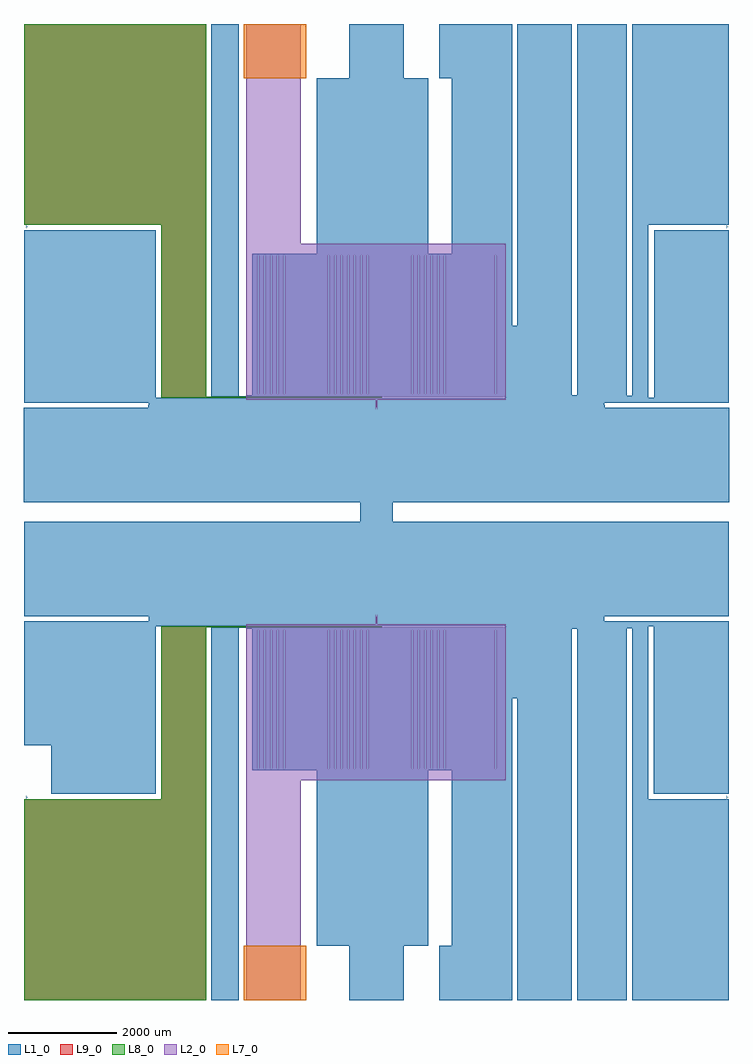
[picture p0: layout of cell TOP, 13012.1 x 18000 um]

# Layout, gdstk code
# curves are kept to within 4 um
import gdstk
lib = gdstk.Library(unit=1e-6, precision=1e-09)
def R(c, l, rs):  # rectangles x0, y0, x1, y1
    for r in rs: c.add(gdstk.rectangle(r[:2], r[2:], *l))
def P(c, l, *ps):  # polygons
    for p in ps: c.add(gdstk.Polygon(p, *l))
L1_0 = (1, 0)
L2_0 = (2, 0)
L7_0 = (7, 0)
L8_0 = (8, 0)
L9_0 = (9, 0)

top = lib.new_cell('TOP')
P(top, L1_0, [(-2296,3435.5),(-2296,3495.5),(2300,3495.5),(2300,4768),(1385.854,4768),(1385.854,8000),(1153.966,8000),(1153.966,9000),(2500,9000),(2500,3435.5)],
  [(-2296,3497),(-2296,4764),(-1100,4764),(-1100,8000),(-500,8000),(-500,9000),(500,9000),(500,8000),(950,8000),(950,4764),(2296,4764),(2296,3497)],
  [(-6000,-5200.045),(-6000,-4299.297),(-6500,-4299.297),(-6500,-2014),(-4200,-2014),(-4200,-1974),(-3,-1974),(-3,1974),(-4200,1974),(-4200,2014),(-6500,2014),(-6500,5200.185),(-4070,5200.185),(-4070,2109.921),(5120,2109.921),(5120,5200.185),(6500,5200.185),(6500,2014),(4200,2014),(4200,1974),(3,1974),(3,-1974),(4200,-1974),(4200,-2014),(6500,-2014),(6500,-5197.841),(5113.881,-5197.841),(5113.881,-2109.921),(-4069.939,-2109.921),(-4069.939,-5200.045)],
  [(5.5,-1971.5),(5.5,1971.5),(9,1971.5),(9,-1968),(17.5,-1968),(17.5,1965.5),(21,1965.5),(21,-1968),(29.5,-1968),(29.5,1965.5),(33,1965.5),(33,-1968),(41.5,-1968),(41.5,1965.5),(45,1965.5),(45,-1968),(53.5,-1968),(53.5,1965.5),(57,1965.5),(57,-1968),(65.5,-1968),(65.5,1965.5),(69,1965.5),(69,-1968),(77.5,-1968),(77.5,1965.5),(81,1965.5),(81,-1968),(89.5,-1968),(89.5,1965.5),(93,1965.5),(93,-1968),(101.5,-1968),(101.5,1965.5),(105,1965.5),(105,-1968),(113.5,-1968),(113.5,1965.5),(117,1965.5),(117,-1968),(125.5,-1968),(125.5,1965.5),(129,1965.5),(129,-1968),(137.5,-1968),(137.5,1965.5),(141,1965.5),(141,-1968),(149.5,-1968),(149.5,1965.5),(153,1965.5),(153,-1968),(161.5,-1968),(161.5,1965.5),(165,1965.5),(165,-1968),(173.5,-1968),(173.5,1965.5),(177,1965.5),(177,-1968),(185.5,-1968),(185.5,1965.5),(189,1965.5),(189,-1968),(197.5,-1968),(197.5,1965.5),(201,1965.5),(201,-1968),(209.5,-1968),(209.5,1965.5),(213,1965.5),(213,-1968),(221.5,-1968),(221.5,1965.5),(225,1965.5),(225,-1968),(233.5,-1968),(233.5,1965.5),(237,1965.5),(237,-1968),(245.5,-1968),(245.5,1965.5),(249,1965.5),(249,-1968),(257.5,-1968),(257.5,1965.5),(261,1965.5),(261,-1968),(269.5,-1968),(269.5,1965.5),(273,1965.5),(273,-1968),(281.5,-1968),(281.5,1965.5),(285,1965.5),(285,-1968),(293.5,-1968),(293.5,1965.5),(297,1965.5),(297,-179.6),(6500.05,-179.6),(6500.05,-1919.6),(4200.05,-1919.6),(4200.05,-1971.5)],
  [(11.5,-1965.5),(11.5,1971.5),(4206.05,1971.5),(4206.05,1919.6),(6506.05,1919.6),(6506.05,179.6),(299.5,179.6),(299.5,1968),(291,1968),(291,-1965.5),(287.5,-1965.5),(287.5,1968),(279,1968),(279,-1965.5),(275.5,-1965.5),(275.5,1968),(267,1968),(267,-1965.5),(263.5,-1965.5),(263.5,1968),(255,1968),(255,-1965.5),(251.5,-1965.5),(251.5,1968),(243,1968),(243,-1965.5),(239.5,-1965.5),(239.5,1968),(231,1968),(231,-1965.5),(227.5,-1965.5),(227.5,1968),(219,1968),(219,-1965.5),(215.5,-1965.5),(215.5,1968),(207,1968),(207,-1965.5),(203.5,-1965.5),(203.5,1968),(195,1968),(195,-1965.5),(191.5,-1965.5),(191.5,1968),(183,1968),(183,-1965.5),(179.5,-1965.5),(179.5,1968),(171,1968),(171,-1965.5),(167.5,-1965.5),(167.5,1968),(159,1968),(159,-1965.5),(155.5,-1965.5),(155.5,1968),(147,1968),(147,-1965.5),(143.5,-1965.5),(143.5,1968),(135,1968),(135,-1965.5),(131.5,-1965.5),(131.5,1968),(123,1968),(123,-1965.5),(119.5,-1965.5),(119.5,1968),(111,1968),(111,-1965.5),(107.5,-1965.5),(107.5,1968),(99,1968),(99,-1965.5),(95.5,-1965.5),(95.5,1968),(87,1968),(87,-1965.5),(83.5,-1965.5),(83.5,1968),(75,1968),(75,-1965.5),(71.5,-1965.5),(71.5,1968),(63,1968),(63,-1965.5),(59.5,-1965.5),(59.5,1968),(51,1968),(51,-1965.5),(47.5,-1965.5),(47.5,1968),(39,1968),(39,-1965.5),(35.5,-1965.5),(35.5,1968),(27,1968),(27,-1965.5),(23.5,-1965.5),(23.5,1968),(15,1968),(15,-1965.5)],
  [(-4200.05,-1971.5),(-4200.05,-1919.6),(-6500.05,-1919.6),(-6500.05,-179.6),(-297,-179.6),(-297,1965.5),(-293.5,1965.5),(-293.5,-1968),(-285,-1968),(-285,1965.5),(-281.5,1965.5),(-281.5,-1968),(-273,-1968),(-273,1965.5),(-269.5,1965.5),(-269.5,-1968),(-261,-1968),(-261,1965.5),(-257.5,1965.5),(-257.5,-1968),(-249,-1968),(-249,1965.5),(-245.5,1965.5),(-245.5,-1968),(-237,-1968),(-237,1965.5),(-233.5,1965.5),(-233.5,-1968),(-225,-1968),(-225,1965.5),(-221.5,1965.5),(-221.5,-1968),(-213,-1968),(-213,1965.5),(-209.5,1965.5),(-209.5,-1968),(-201,-1968),(-201,1965.5),(-197.5,1965.5),(-197.5,-1968),(-189,-1968),(-189,1965.5),(-185.5,1965.5),(-185.5,-1968),(-177,-1968),(-177,1965.5),(-173.5,1965.5),(-173.5,-1968),(-165,-1968),(-165,1965.5),(-161.5,1965.5),(-161.5,-1968),(-153,-1968),(-153,1965.5),(-149.5,1965.5),(-149.5,-1968),(-141,-1968),(-141,1965.5),(-137.5,1965.5),(-137.5,-1968),(-129,-1968),(-129,1965.5),(-125.5,1965.5),(-125.5,-1968),(-117,-1968),(-117,1965.5),(-113.5,1965.5),(-113.5,-1968),(-105,-1968),(-105,1965.5),(-101.5,1965.5),(-101.5,-1968),(-93,-1968),(-93,1965.5),(-89.5,1965.5),(-89.5,-1968),(-81,-1968),(-81,1965.5),(-77.5,1965.5),(-77.5,-1968),(-69,-1968),(-69,1965.5),(-65.5,1965.5),(-65.5,-1968),(-57,-1968),(-57,1965.5),(-53.5,1965.5),(-53.5,-1968),(-45,-1968),(-45,1965.5),(-41.5,1965.5),(-41.5,-1968),(-33,-1968),(-33,1965.5),(-29.5,1965.5),(-29.5,-1968),(-21,-1968),(-21,1965.5),(-17.5,1965.5),(-17.5,-1968),(-9,-1968),(-9,1971.5),(-5.5,1971.5),(-5.5,-1971.5)],
  [(-291,-1965.5),(-291,1968),(-299.5,1968),(-299.5,179.6),(-6506.05,179.6),(-6506.05,1919.6),(-4206.05,1919.6),(-4206.05,1971.5),(-11.5,1971.5),(-11.5,-1965.5),(-15,-1965.5),(-15,1968),(-23.5,1968),(-23.5,-1965.5),(-27,-1965.5),(-27,1968),(-35.5,1968),(-35.5,-1965.5),(-39,-1965.5),(-39,1968),(-47.5,1968),(-47.5,-1965.5),(-51,-1965.5),(-51,1968),(-59.5,1968),(-59.5,-1965.5),(-63,-1965.5),(-63,1968),(-71.5,1968),(-71.5,-1965.5),(-75,-1965.5),(-75,1968),(-83.5,1968),(-83.5,-1965.5),(-87,-1965.5),(-87,1968),(-95.5,1968),(-95.5,-1965.5),(-99,-1965.5),(-99,1968),(-107.5,1968),(-107.5,-1965.5),(-111,-1965.5),(-111,1968),(-119.5,1968),(-119.5,-1965.5),(-123,-1965.5),(-123,1968),(-131.5,1968),(-131.5,-1965.5),(-135,-1965.5),(-135,1968),(-143.5,1968),(-143.5,-1965.5),(-147,-1965.5),(-147,1968),(-155.5,1968),(-155.5,-1965.5),(-159,-1965.5),(-159,1968),(-167.5,1968),(-167.5,-1965.5),(-171,-1965.5),(-171,1968),(-179.5,1968),(-179.5,-1965.5),(-183,-1965.5),(-183,1968),(-191.5,1968),(-191.5,-1965.5),(-195,-1965.5),(-195,1968),(-203.5,1968),(-203.5,-1965.5),(-207,-1965.5),(-207,1968),(-215.5,1968),(-215.5,-1965.5),(-219,-1965.5),(-219,1968),(-227.5,1968),(-227.5,-1965.5),(-231,-1965.5),(-231,1968),(-239.5,1968),(-239.5,-1965.5),(-243,-1965.5),(-243,1968),(-251.5,1968),(-251.5,-1965.5),(-255,-1965.5),(-255,1968),(-263.5,1968),(-263.5,-1965.5),(-267,-1965.5),(-267,1968),(-275.5,1968),(-275.5,-1965.5),(-279,-1965.5),(-279,1968),(-287.5,1968),(-287.5,-1965.5)],
  [(-3043.339,2122.521),(-3043.339,9000),(-2543.314,9000),(-2543.314,2132.521),(2378.898,2132.521),(2378.898,2122.521)],
  [(-2394.635,2145.121),(-2394.635,2155.121),(3700.753,2155.121),(3700.753,9000),(4617.163,9000),(4617.163,2145.121)],
  [(-2296,2156.421),(-2296,3434),(2600,3434),(2600,9000),(3601.504,9000),(3601.504,2156.421)],
  [(1153.966,-9000),(1153.966,-8000),(1385.854,-8000),(1385.854,-4768),(2300,-4768),(2300,-3495.5),(-2296,-3495.5),(-2296,-3435.5),(2500,-3435.5),(2500,-9000)],
  [(-500,-9000),(-500,-8000),(-1100,-8000),(-1100,-4764),(-2296,-4764),(-2296,-3497),(2296,-3497),(2296,-4764),(950,-4764),(950,-8000),(500,-8000),(500,-9000)],
  [(-3043.339,-9000),(-3043.339,-2122.521),(2378.898,-2122.521),(2378.898,-2132.521),(-2543.314,-2132.521),(-2543.314,-9000)],
  [(3700.753,-9000),(3700.753,-2155.121),(-2394.635,-2155.121),(-2394.635,-2145.121),(4617.163,-2145.121),(4617.163,-9000)],
  [(2600,-9000),(2600,-3434),(-2296,-3434),(-2296,-2156.421),(3601.504,-2156.421),(3601.504,-9000)],
  [(2387.322,2118.821),(2387.322,2133.821),(-2394.635,2133.821),(-2394.635,2143.821),(4717.163,2143.821),(4717.163,9000),(6500,9000),(6500,5297.841),(5013.881,5297.841),(5013.881,2118.821)],
  [(4717.163,-9000),(4717.163,-2143.821),(-2394.635,-2143.821),(-2394.635,-2133.821),(2387.322,-2133.821),(2387.322,-2118.821),(5013.881,-2118.821),(5013.881,-5297.841),(6500,-5297.841),(6500,-9000)],
  [(-6461.5,5230),(-6461.5,5258.5),(-6490,5258.5),(-6490,5261.5),(-6461.5,5261.5),(-6461.5,5290),(-6458.5,5290),(-6458.5,5261.5),(-6430,5261.5),(-6430,5258.5),(-6458.5,5258.5),(-6458.5,5230)],
  [(6458.5,5230),(6458.5,5258.5),(6430,5258.5),(6430,5261.5),(6458.5,5261.5),(6458.5,5290),(6461.5,5290),(6461.5,5261.5),(6490,5261.5),(6490,5258.5),(6461.5,5258.5),(6461.5,5230)],
  [(-6461.5,-5290),(-6461.5,-5261.5),(-6490,-5261.5),(-6490,-5258.5),(-6461.5,-5258.5),(-6461.5,-5230),(-6458.5,-5230),(-6458.5,-5258.5),(-6430,-5258.5),(-6430,-5261.5),(-6458.5,-5261.5),(-6458.5,-5290)],
  [(6458.5,-5290),(6458.5,-5261.5),(6430,-5261.5),(6430,-5258.5),(6458.5,-5258.5),(6458.5,-5230),(6461.5,-5230),(6461.5,-5258.5),(6490,-5258.5),(6490,-5261.5),(6461.5,-5261.5),(6461.5,-5290)])
P(top, L2_0, [(-15.5,1894),(-18,2069),(-2400,2069),(-2400,9000),(-1400,9000),(-1400,4944),(2384,4944),(2384,2069),(18,2069),(15.5,1894),(13.5,1894),(6,1964),(6,2173.221),(2284,2173.221),(2284,4744),(2274,4744),(2274,2183.221),(2264,2183.221),(2264,4744),(2254,4744),(2254,2183.221),(2244,2183.221),(2244,4744),(2234,4744),(2234,2183.221),(2224,2183.221),(2224,4744),(2214,4744),(2214,2183.221),(2204,2183.221),(2204,4744),(2194,4744),(2194,2183.221),(2184,2183.221),(2184,4744),(2174,4744),(2174,2183.221),(2164,2183.221),(2164,4744),(2154,4744),(2154,2183.221),(2144,2183.221),(2144,4744),(2134,4744),(2134,2183.221),(2124,2183.221),(2124,4744),(2114,4744),(2114,2183.221),(2104,2183.221),(2104,4744),(2094,4744),(2094,2183.221),(2084,2183.221),(2084,4744),(2074,4744),(2074,2183.221),(2064,2183.221),(2064,4744),(2054,4744),(2054,2183.221),(2044,2183.221),(2044,4744),(2034,4744),(2034,2183.221),(2024,2183.221),(2024,4744),(2014,4744),(2014,2183.221),(2004,2183.221),(2004,4744),(1994,4744),(1994,2183.221),(1984,2183.221),(1984,4744),(1974,4744),(1974,2183.221),(1964,2183.221),(1964,4744),(1954,4744),(1954,2183.221),(1944,2183.221),(1944,4744),(1934,4744),(1934,2183.221),(1924,2183.221),(1924,4744),(1914,4744),(1914,2183.221),(1904,2183.221),(1904,4744),(1894,4744),(1894,2183.221),(1884,2183.221),(1884,4744),(1874,4744),(1874,2183.221),(1864,2183.221),(1864,4744),(1854,4744),(1854,2183.221),(1844,2183.221),(1844,4744),(1834,4744),(1834,2183.221),(1824,2183.221),(1824,4744),(1814,4744),(1814,2183.221),(1804,2183.221),(1804,4744),(1794,4744),(1794,2183.221),(1784,2183.221),(1784,4744),(1774,4744),(1774,2183.221),(1764,2183.221),(1764,4744),(1754,4744),(1754,2183.221),(1744,2183.221),(1744,4744),(1734,4744),(1734,2183.221),(1724,2183.221),(1724,4744),(1714,4744),(1714,2183.221),(1704,2183.221),(1704,4744),(1694,4744),(1694,2183.221),(1684,2183.221),(1684,4744),(1674,4744),(1674,2183.221),(1664,2183.221),(1664,4744),(1654,4744),(1654,2183.221),(1644,2183.221),(1644,4744),(1634,4744),(1634,2183.221),(1624,2183.221),(1624,4744),(1614,4744),(1614,2183.221),(1604,2183.221),(1604,4744),(1594,4744),(1594,2183.221),(1584,2183.221),(1584,4744),(1574,4744),(1574,2183.221),(1564,2183.221),(1564,4744),(1554,4744),(1554,2183.221),(1544,2183.221),(1544,4744),(1534,4744),(1534,2183.221),(1524,2183.221),(1524,4744),(1514,4744),(1514,2183.221),(1504,2183.221),(1504,4744),(1494,4744),(1494,2183.221),(1484,2183.221),(1484,4744),(1474,4744),(1474,2183.221),(1464,2183.221),(1464,4744),(1454,4744),(1454,2183.221),(1444,2183.221),(1444,4744),(1434,4744),(1434,2183.221),(1424,2183.221),(1424,4744),(1414,4744),(1414,2183.221),(1404,2183.221),(1404,4744),(1394,4744),(1394,2183.221),(1384,2183.221),(1384,4744),(1374,4744),(1374,2183.221),(1364,2183.221),(1364,4744),(1354,4744),(1354,2183.221),(1344,2183.221),(1344,4744),(1334,4744),(1334,2183.221),(1324,2183.221),(1324,4744),(1314,4744),(1314,2183.221),(1304,2183.221),(1304,4744),(1294,4744),(1294,2183.221),(1284,2183.221),(1284,4744),(1274,4744),(1274,2183.221),(1264,2183.221),(1264,4744),(1254,4744),(1254,2183.221),(1244,2183.221),(1244,4744),(1234,4744),(1234,2183.221),(1224,2183.221),(1224,4744),(1214,4744),(1214,2183.221),(1204,2183.221),(1204,4744),(1194,4744),(1194,2183.221),(1184,2183.221),(1184,4744),(1174,4744),(1174,2183.221),(1164,2183.221),(1164,4744),(1154,4744),(1154,2183.221),(1144,2183.221),(1144,4744),(1134,4744),(1134,2183.221),(1124,2183.221),(1124,4744),(1114,4744),(1114,2183.221),(1104,2183.221),(1104,4744),(1094,4744),(1094,2183.221),(1084,2183.221),(1084,4744),(1074,4744),(1074,2183.221),(1064,2183.221),(1064,4744),(1054,4744),(1054,2183.221),(1044,2183.221),(1044,4744),(1034,4744),(1034,2183.221),(1024,2183.221),(1024,4744),(1014,4744),(1014,2183.221),(1004,2183.221),(1004,4744),(994,4744),(994,2183.221),(984,2183.221),(984,4744),(974,4744),(974,2183.221),(964,2183.221),(964,4744),(954,4744),(954,2183.221),(944,2183.221),(944,4744),(934,4744),(934,2183.221),(924,2183.221),(924,4744),(914,4744),(914,2183.221),(904,2183.221),(904,4744),(894,4744),(894,2183.221),(884,2183.221),(884,4744),(874,4744),(874,2183.221),(864,2183.221),(864,4744),(854,4744),(854,2183.221),(844,2183.221),(844,4744),(834,4744),(834,2183.221),(824,2183.221),(824,4744),(814,4744),(814,2183.221),(804,2183.221),(804,4744),(794,4744),(794,2183.221),(784,2183.221),(784,4744),(774,4744),(774,2183.221),(764,2183.221),(764,4744),(754,4744),(754,2183.221),(744,2183.221),(744,4744),(734,4744),(734,2183.221),(724,2183.221),(724,4744),(714,4744),(714,2183.221),(704,2183.221),(704,4744),(694,4744),(694,2183.221),(684,2183.221),(684,4744),(674,4744),(674,2183.221),(664,2183.221),(664,4744),(654,4744),(654,2183.221),(644,2183.221),(644,4744),(634,4744),(634,2183.221),(624,2183.221),(624,4744),(614,4744),(614,2183.221),(604,2183.221),(604,4744),(594,4744),(594,2183.221),(584,2183.221),(584,4744),(574,4744),(574,2183.221),(564,2183.221),(564,4744),(554,4744),(554,2183.221),(544,2183.221),(544,4744),(534,4744),(534,2183.221),(524,2183.221),(524,4744),(514,4744),(514,2183.221),(504,2183.221),(504,4744),(494,4744),(494,2183.221),(484,2183.221),(484,4744),(474,4744),(474,2183.221),(464,2183.221),(464,4744),(454,4744),(454,2183.221),(444,2183.221),(444,4744),(434,4744),(434,2183.221),(424,2183.221),(424,4744),(414,4744),(414,2183.221),(404,2183.221),(404,4744),(394,4744),(394,2183.221),(384,2183.221),(384,4744),(374,4744),(374,2183.221),(364,2183.221),(364,4744),(354,4744),(354,2183.221),(344,2183.221),(344,4744),(334,4744),(334,2183.221),(324,2183.221),(324,4744),(314,4744),(314,2183.221),(304,2183.221),(304,4744),(294,4744),(294,2183.221),(284,2183.221),(284,4744),(274,4744),(274,2183.221),(264,2183.221),(264,4744),(254,4744),(254,2183.221),(244,2183.221),(244,4744),(234,4744),(234,2183.221),(224,2183.221),(224,4744),(214,4744),(214,2183.221),(204,2183.221),(204,4744),(194,4744),(194,2183.221),(184,2183.221),(184,4744),(174,4744),(174,2183.221),(164,2183.221),(164,4744),(154,4744),(154,2183.221),(144,2183.221),(144,4744),(134,4744),(134,2183.221),(124,2183.221),(124,4744),(114,4744),(114,2183.221),(104,2183.221),(104,4744),(94,4744),(94,2183.221),(84,2183.221),(84,4744),(74,4744),(74,2183.221),(64,2183.221),(64,4744),(54,4744),(54,2183.221),(44,2183.221),(44,4744),(34,4744),(34,2183.221),(24,2183.221),(24,4744),(14,4744),(14,2183.221),(4,2183.221),(4,4744),(-6,4744),(-6,2183.221),(-16,2183.221),(-16,4744),(-26,4744),(-26,2183.221),(-36,2183.221),(-36,4744),(-46,4744),(-46,2183.221),(-56,2183.221),(-56,4744),(-66,4744),(-66,2183.221),(-76,2183.221),(-76,4744),(-86,4744),(-86,2183.221),(-96,2183.221),(-96,4744),(-106,4744),(-106,2183.221),(-116,2183.221),(-116,4744),(-126,4744),(-126,2183.221),(-136,2183.221),(-136,4744),(-146,4744),(-146,2183.221),(-156,2183.221),(-156,4744),(-166,4744),(-166,2183.221),(-176,2183.221),(-176,4744),(-186,4744),(-186,2183.221),(-196,2183.221),(-196,4744),(-206,4744),(-206,2183.221),(-216,2183.221),(-216,4744),(-226,4744),(-226,2183.221),(-236,2183.221),(-236,4744),(-246,4744),(-246,2183.221),(-256,2183.221),(-256,4744),(-266,4744),(-266,2183.221),(-276,2183.221),(-276,4744),(-286,4744),(-286,2183.221),(-296,2183.221),(-296,4744),(-306,4744),(-306,2183.221),(-316,2183.221),(-316,4744),(-326,4744),(-326,2183.221),(-336,2183.221),(-336,4744),(-346,4744),(-346,2183.221),(-356,2183.221),(-356,4744),(-366,4744),(-366,2183.221),(-376,2183.221),(-376,4744),(-386,4744),(-386,2183.221),(-396,2183.221),(-396,4744),(-406,4744),(-406,2183.221),(-416,2183.221),(-416,4744),(-426,4744),(-426,2183.221),(-436,2183.221),(-436,4744),(-446,4744),(-446,2183.221),(-456,2183.221),(-456,4744),(-466,4744),(-466,2183.221),(-476,2183.221),(-476,4744),(-486,4744),(-486,2183.221),(-496,2183.221),(-496,4744),(-506,4744),(-506,2183.221),(-516,2183.221),(-516,4744),(-526,4744),(-526,2183.221),(-536,2183.221),(-536,4744),(-546,4744),(-546,2183.221),(-556,2183.221),(-556,4744),(-566,4744),(-566,2183.221),(-576,2183.221),(-576,4744),(-586,4744),(-586,2183.221),(-596,2183.221),(-596,4744),(-606,4744),(-606,2183.221),(-616,2183.221),(-616,4744),(-626,4744),(-626,2183.221),(-636,2183.221),(-636,4744),(-646,4744),(-646,2183.221),(-656,2183.221),(-656,4744),(-666,4744),(-666,2183.221),(-676,2183.221),(-676,4744),(-686,4744),(-686,2183.221),(-696,2183.221),(-696,4744),(-706,4744),(-706,2183.221),(-716,2183.221),(-716,4744),(-726,4744),(-726,2183.221),(-736,2183.221),(-736,4744),(-746,4744),(-746,2183.221),(-756,2183.221),(-756,4744),(-766,4744),(-766,2183.221),(-776,2183.221),(-776,4744),(-786,4744),(-786,2183.221),(-796,2183.221),(-796,4744),(-806,4744),(-806,2183.221),(-816,2183.221),(-816,4744),(-826,4744),(-826,2183.221),(-836,2183.221),(-836,4744),(-846,4744),(-846,2183.221),(-856,2183.221),(-856,4744),(-866,4744),(-866,2183.221),(-876,2183.221),(-876,4744),(-886,4744),(-886,2183.221),(-896,2183.221),(-896,4744),(-906,4744),(-906,2183.221),(-916,2183.221),(-916,4744),(-926,4744),(-926,2183.221),(-936,2183.221),(-936,4744),(-946,4744),(-946,2183.221),(-956,2183.221),(-956,4744),(-966,4744),(-966,2183.221),(-976,2183.221),(-976,4744),(-986,4744),(-986,2183.221),(-996,2183.221),(-996,4744),(-1006,4744),(-1006,2183.221),(-1016,2183.221),(-1016,4744),(-1026,4744),(-1026,2183.221),(-1036,2183.221),(-1036,4744),(-1046,4744),(-1046,2183.221),(-1056,2183.221),(-1056,4744),(-1066,4744),(-1066,2183.221),(-1076,2183.221),(-1076,4744),(-1086,4744),(-1086,2183.221),(-1096,2183.221),(-1096,4744),(-1106,4744),(-1106,2183.221),(-1116,2183.221),(-1116,4744),(-1126,4744),(-1126,2183.221),(-1136,2183.221),(-1136,4744),(-1146,4744),(-1146,2183.221),(-1156,2183.221),(-1156,4744),(-1166,4744),(-1166,2183.221),(-1176,2183.221),(-1176,4744),(-1186,4744),(-1186,2183.221),(-1196,2183.221),(-1196,4744),(-1206,4744),(-1206,2183.221),(-1216,2183.221),(-1216,4744),(-1226,4744),(-1226,2183.221),(-1236,2183.221),(-1236,4744),(-1246,4744),(-1246,2183.221),(-1256,2183.221),(-1256,4744),(-1266,4744),(-1266,2183.221),(-1276,2183.221),(-1276,4744),(-1286,4744),(-1286,2183.221),(-1296,2183.221),(-1296,4744),(-1306,4744),(-1306,2183.221),(-1316,2183.221),(-1316,4744),(-1326,4744),(-1326,2183.221),(-1336,2183.221),(-1336,4744),(-1346,4744),(-1346,2183.221),(-1356,2183.221),(-1356,4744),(-1366,4744),(-1366,2183.221),(-1376,2183.221),(-1376,4744),(-1386,4744),(-1386,2183.221),(-1396,2183.221),(-1396,4744),(-1406,4744),(-1406,2183.221),(-1416,2183.221),(-1416,4744),(-1426,4744),(-1426,2183.221),(-1436,2183.221),(-1436,4744),(-1446,4744),(-1446,2183.221),(-1456,2183.221),(-1456,4744),(-1466,4744),(-1466,2183.221),(-1476,2183.221),(-1476,4744),(-1486,4744),(-1486,2183.221),(-1496,2183.221),(-1496,4744),(-1506,4744),(-1506,2183.221),(-1516,2183.221),(-1516,4744),(-1526,4744),(-1526,2183.221),(-1536,2183.221),(-1536,4744),(-1546,4744),(-1546,2183.221),(-1556,2183.221),(-1556,4744),(-1566,4744),(-1566,2183.221),(-1576,2183.221),(-1576,4744),(-1586,4744),(-1586,2183.221),(-1596,2183.221),(-1596,4744),(-1606,4744),(-1606,2183.221),(-1616,2183.221),(-1616,4744),(-1626,4744),(-1626,2183.221),(-1636,2183.221),(-1636,4744),(-1646,4744),(-1646,2183.221),(-1656,2183.221),(-1656,4744),(-1666,4744),(-1666,2183.221),(-1676,2183.221),(-1676,4744),(-1686,4744),(-1686,2183.221),(-1696,2183.221),(-1696,4744),(-1706,4744),(-1706,2183.221),(-1716,2183.221),(-1716,4744),(-1726,4744),(-1726,2183.221),(-1736,2183.221),(-1736,4744),(-1746,4744),(-1746,2183.221),(-1756,2183.221),(-1756,4744),(-1766,4744),(-1766,2183.221),(-1776,2183.221),(-1776,4744),(-1786,4744),(-1786,2183.221),(-1796,2183.221),(-1796,4744),(-1806,4744),(-1806,2183.221),(-1816,2183.221),(-1816,4744),(-1826,4744),(-1826,2183.221),(-1836,2183.221),(-1836,4744),(-1846,4744),(-1846,2183.221),(-1856,2183.221),(-1856,4744),(-1866,4744),(-1866,2183.221),(-1876,2183.221),(-1876,4744),(-1886,4744),(-1886,2183.221),(-1896,2183.221),(-1896,4744),(-1906,4744),(-1906,2183.221),(-1916,2183.221),(-1916,4744),(-1926,4744),(-1926,2183.221),(-1936,2183.221),(-1936,4744),(-1946,4744),(-1946,2183.221),(-1956,2183.221),(-1956,4744),(-1966,4744),(-1966,2183.221),(-1976,2183.221),(-1976,4744),(-1986,4744),(-1986,2183.221),(-1996,2183.221),(-1996,4744),(-2006,4744),(-2006,2183.221),(-2016,2183.221),(-2016,4744),(-2026,4744),(-2026,2183.221),(-2036,2183.221),(-2036,4744),(-2046,4744),(-2046,2183.221),(-2056,2183.221),(-2056,4744),(-2066,4744),(-2066,2183.221),(-2076,2183.221),(-2076,4744),(-2086,4744),(-2086,2183.221),(-2096,2183.221),(-2096,4744),(-2106,4744),(-2106,2183.221),(-2116,2183.221),(-2116,4744),(-2126,4744),(-2126,2183.221),(-2136,2183.221),(-2136,4744),(-2146,4744),(-2146,2183.221),(-2156,2183.221),(-2156,4744),(-2166,4744),(-2166,2183.221),(-2176,2183.221),(-2176,4744),(-2186,4744),(-2186,2183.221),(-2196,2183.221),(-2196,4744),(-2206,4744),(-2206,2183.221),(-2216,2183.221),(-2216,4744),(-2226,4744),(-2226,2183.221),(-2236,2183.221),(-2236,4744),(-2246,4744),(-2246,2183.221),(-2256,2183.221),(-2256,4744),(-2266,4744),(-2266,2183.221),(-2276,2183.221),(-2276,4744),(-2286,4744),(-2286,2173.221),(-6,2173.221),(-6,1964),(-13.5,1894)],
  [(-2400,-9000),(-2400,-2069),(-18,-2069),(-15.5,-1894),(-13.5,-1894),(-6,-1964),(-6,-2173.221),(-2286,-2173.221),(-2286,-4744),(-2276,-4744),(-2276,-2183.221),(-2266,-2183.221),(-2266,-4744),(-2256,-4744),(-2256,-2183.221),(-2246,-2183.221),(-2246,-4744),(-2236,-4744),(-2236,-2183.221),(-2226,-2183.221),(-2226,-4744),(-2216,-4744),(-2216,-2183.221),(-2206,-2183.221),(-2206,-4744),(-2196,-4744),(-2196,-2183.221),(-2186,-2183.221),(-2186,-4744),(-2176,-4744),(-2176,-2183.221),(-2166,-2183.221),(-2166,-4744),(-2156,-4744),(-2156,-2183.221),(-2146,-2183.221),(-2146,-4744),(-2136,-4744),(-2136,-2183.221),(-2126,-2183.221),(-2126,-4744),(-2116,-4744),(-2116,-2183.221),(-2106,-2183.221),(-2106,-4744),(-2096,-4744),(-2096,-2183.221),(-2086,-2183.221),(-2086,-4744),(-2076,-4744),(-2076,-2183.221),(-2066,-2183.221),(-2066,-4744),(-2056,-4744),(-2056,-2183.221),(-2046,-2183.221),(-2046,-4744),(-2036,-4744),(-2036,-2183.221),(-2026,-2183.221),(-2026,-4744),(-2016,-4744),(-2016,-2183.221),(-2006,-2183.221),(-2006,-4744),(-1996,-4744),(-1996,-2183.221),(-1986,-2183.221),(-1986,-4744),(-1976,-4744),(-1976,-2183.221),(-1966,-2183.221),(-1966,-4744),(-1956,-4744),(-1956,-2183.221),(-1946,-2183.221),(-1946,-4744),(-1936,-4744),(-1936,-2183.221),(-1926,-2183.221),(-1926,-4744),(-1916,-4744),(-1916,-2183.221),(-1906,-2183.221),(-1906,-4744),(-1896,-4744),(-1896,-2183.221),(-1886,-2183.221),(-1886,-4744),(-1876,-4744),(-1876,-2183.221),(-1866,-2183.221),(-1866,-4744),(-1856,-4744),(-1856,-2183.221),(-1846,-2183.221),(-1846,-4744),(-1836,-4744),(-1836,-2183.221),(-1826,-2183.221),(-1826,-4744),(-1816,-4744),(-1816,-2183.221),(-1806,-2183.221),(-1806,-4744),(-1796,-4744),(-1796,-2183.221),(-1786,-2183.221),(-1786,-4744),(-1776,-4744),(-1776,-2183.221),(-1766,-2183.221),(-1766,-4744),(-1756,-4744),(-1756,-2183.221),(-1746,-2183.221),(-1746,-4744),(-1736,-4744),(-1736,-2183.221),(-1726,-2183.221),(-1726,-4744),(-1716,-4744),(-1716,-2183.221),(-1706,-2183.221),(-1706,-4744),(-1696,-4744),(-1696,-2183.221),(-1686,-2183.221),(-1686,-4744),(-1676,-4744),(-1676,-2183.221),(-1666,-2183.221),(-1666,-4744),(-1656,-4744),(-1656,-2183.221),(-1646,-2183.221),(-1646,-4744),(-1636,-4744),(-1636,-2183.221),(-1626,-2183.221),(-1626,-4744),(-1616,-4744),(-1616,-2183.221),(-1606,-2183.221),(-1606,-4744),(-1596,-4744),(-1596,-2183.221),(-1586,-2183.221),(-1586,-4744),(-1576,-4744),(-1576,-2183.221),(-1566,-2183.221),(-1566,-4744),(-1556,-4744),(-1556,-2183.221),(-1546,-2183.221),(-1546,-4744),(-1536,-4744),(-1536,-2183.221),(-1526,-2183.221),(-1526,-4744),(-1516,-4744),(-1516,-2183.221),(-1506,-2183.221),(-1506,-4744),(-1496,-4744),(-1496,-2183.221),(-1486,-2183.221),(-1486,-4744),(-1476,-4744),(-1476,-2183.221),(-1466,-2183.221),(-1466,-4744),(-1456,-4744),(-1456,-2183.221),(-1446,-2183.221),(-1446,-4744),(-1436,-4744),(-1436,-2183.221),(-1426,-2183.221),(-1426,-4744),(-1416,-4744),(-1416,-2183.221),(-1406,-2183.221),(-1406,-4744),(-1396,-4744),(-1396,-2183.221),(-1386,-2183.221),(-1386,-4744),(-1376,-4744),(-1376,-2183.221),(-1366,-2183.221),(-1366,-4744),(-1356,-4744),(-1356,-2183.221),(-1346,-2183.221),(-1346,-4744),(-1336,-4744),(-1336,-2183.221),(-1326,-2183.221),(-1326,-4744),(-1316,-4744),(-1316,-2183.221),(-1306,-2183.221),(-1306,-4744),(-1296,-4744),(-1296,-2183.221),(-1286,-2183.221),(-1286,-4744),(-1276,-4744),(-1276,-2183.221),(-1266,-2183.221),(-1266,-4744),(-1256,-4744),(-1256,-2183.221),(-1246,-2183.221),(-1246,-4744),(-1236,-4744),(-1236,-2183.221),(-1226,-2183.221),(-1226,-4744),(-1216,-4744),(-1216,-2183.221),(-1206,-2183.221),(-1206,-4744),(-1196,-4744),(-1196,-2183.221),(-1186,-2183.221),(-1186,-4744),(-1176,-4744),(-1176,-2183.221),(-1166,-2183.221),(-1166,-4744),(-1156,-4744),(-1156,-2183.221),(-1146,-2183.221),(-1146,-4744),(-1136,-4744),(-1136,-2183.221),(-1126,-2183.221),(-1126,-4744),(-1116,-4744),(-1116,-2183.221),(-1106,-2183.221),(-1106,-4744),(-1096,-4744),(-1096,-2183.221),(-1086,-2183.221),(-1086,-4744),(-1076,-4744),(-1076,-2183.221),(-1066,-2183.221),(-1066,-4744),(-1056,-4744),(-1056,-2183.221),(-1046,-2183.221),(-1046,-4744),(-1036,-4744),(-1036,-2183.221),(-1026,-2183.221),(-1026,-4744),(-1016,-4744),(-1016,-2183.221),(-1006,-2183.221),(-1006,-4744),(-996,-4744),(-996,-2183.221),(-986,-2183.221),(-986,-4744),(-976,-4744),(-976,-2183.221),(-966,-2183.221),(-966,-4744),(-956,-4744),(-956,-2183.221),(-946,-2183.221),(-946,-4744),(-936,-4744),(-936,-2183.221),(-926,-2183.221),(-926,-4744),(-916,-4744),(-916,-2183.221),(-906,-2183.221),(-906,-4744),(-896,-4744),(-896,-2183.221),(-886,-2183.221),(-886,-4744),(-876,-4744),(-876,-2183.221),(-866,-2183.221),(-866,-4744),(-856,-4744),(-856,-2183.221),(-846,-2183.221),(-846,-4744),(-836,-4744),(-836,-2183.221),(-826,-2183.221),(-826,-4744),(-816,-4744),(-816,-2183.221),(-806,-2183.221),(-806,-4744),(-796,-4744),(-796,-2183.221),(-786,-2183.221),(-786,-4744),(-776,-4744),(-776,-2183.221),(-766,-2183.221),(-766,-4744),(-756,-4744),(-756,-2183.221),(-746,-2183.221),(-746,-4744),(-736,-4744),(-736,-2183.221),(-726,-2183.221),(-726,-4744),(-716,-4744),(-716,-2183.221),(-706,-2183.221),(-706,-4744),(-696,-4744),(-696,-2183.221),(-686,-2183.221),(-686,-4744),(-676,-4744),(-676,-2183.221),(-666,-2183.221),(-666,-4744),(-656,-4744),(-656,-2183.221),(-646,-2183.221),(-646,-4744),(-636,-4744),(-636,-2183.221),(-626,-2183.221),(-626,-4744),(-616,-4744),(-616,-2183.221),(-606,-2183.221),(-606,-4744),(-596,-4744),(-596,-2183.221),(-586,-2183.221),(-586,-4744),(-576,-4744),(-576,-2183.221),(-566,-2183.221),(-566,-4744),(-556,-4744),(-556,-2183.221),(-546,-2183.221),(-546,-4744),(-536,-4744),(-536,-2183.221),(-526,-2183.221),(-526,-4744),(-516,-4744),(-516,-2183.221),(-506,-2183.221),(-506,-4744),(-496,-4744),(-496,-2183.221),(-486,-2183.221),(-486,-4744),(-476,-4744),(-476,-2183.221),(-466,-2183.221),(-466,-4744),(-456,-4744),(-456,-2183.221),(-446,-2183.221),(-446,-4744),(-436,-4744),(-436,-2183.221),(-426,-2183.221),(-426,-4744),(-416,-4744),(-416,-2183.221),(-406,-2183.221),(-406,-4744),(-396,-4744),(-396,-2183.221),(-386,-2183.221),(-386,-4744),(-376,-4744),(-376,-2183.221),(-366,-2183.221),(-366,-4744),(-356,-4744),(-356,-2183.221),(-346,-2183.221),(-346,-4744),(-336,-4744),(-336,-2183.221),(-326,-2183.221),(-326,-4744),(-316,-4744),(-316,-2183.221),(-306,-2183.221),(-306,-4744),(-296,-4744),(-296,-2183.221),(-286,-2183.221),(-286,-4744),(-276,-4744),(-276,-2183.221),(-266,-2183.221),(-266,-4744),(-256,-4744),(-256,-2183.221),(-246,-2183.221),(-246,-4744),(-236,-4744),(-236,-2183.221),(-226,-2183.221),(-226,-4744),(-216,-4744),(-216,-2183.221),(-206,-2183.221),(-206,-4744),(-196,-4744),(-196,-2183.221),(-186,-2183.221),(-186,-4744),(-176,-4744),(-176,-2183.221),(-166,-2183.221),(-166,-4744),(-156,-4744),(-156,-2183.221),(-146,-2183.221),(-146,-4744),(-136,-4744),(-136,-2183.221),(-126,-2183.221),(-126,-4744),(-116,-4744),(-116,-2183.221),(-106,-2183.221),(-106,-4744),(-96,-4744),(-96,-2183.221),(-86,-2183.221),(-86,-4744),(-76,-4744),(-76,-2183.221),(-66,-2183.221),(-66,-4744),(-56,-4744),(-56,-2183.221),(-46,-2183.221),(-46,-4744),(-36,-4744),(-36,-2183.221),(-26,-2183.221),(-26,-4744),(-16,-4744),(-16,-2183.221),(-6,-2183.221),(-6,-4744),(4,-4744),(4,-2183.221),(14,-2183.221),(14,-4744),(24,-4744),(24,-2183.221),(34,-2183.221),(34,-4744),(44,-4744),(44,-2183.221),(54,-2183.221),(54,-4744),(64,-4744),(64,-2183.221),(74,-2183.221),(74,-4744),(84,-4744),(84,-2183.221),(94,-2183.221),(94,-4744),(104,-4744),(104,-2183.221),(114,-2183.221),(114,-4744),(124,-4744),(124,-2183.221),(134,-2183.221),(134,-4744),(144,-4744),(144,-2183.221),(154,-2183.221),(154,-4744),(164,-4744),(164,-2183.221),(174,-2183.221),(174,-4744),(184,-4744),(184,-2183.221),(194,-2183.221),(194,-4744),(204,-4744),(204,-2183.221),(214,-2183.221),(214,-4744),(224,-4744),(224,-2183.221),(234,-2183.221),(234,-4744),(244,-4744),(244,-2183.221),(254,-2183.221),(254,-4744),(264,-4744),(264,-2183.221),(274,-2183.221),(274,-4744),(284,-4744),(284,-2183.221),(294,-2183.221),(294,-4744),(304,-4744),(304,-2183.221),(314,-2183.221),(314,-4744),(324,-4744),(324,-2183.221),(334,-2183.221),(334,-4744),(344,-4744),(344,-2183.221),(354,-2183.221),(354,-4744),(364,-4744),(364,-2183.221),(374,-2183.221),(374,-4744),(384,-4744),(384,-2183.221),(394,-2183.221),(394,-4744),(404,-4744),(404,-2183.221),(414,-2183.221),(414,-4744),(424,-4744),(424,-2183.221),(434,-2183.221),(434,-4744),(444,-4744),(444,-2183.221),(454,-2183.221),(454,-4744),(464,-4744),(464,-2183.221),(474,-2183.221),(474,-4744),(484,-4744),(484,-2183.221),(494,-2183.221),(494,-4744),(504,-4744),(504,-2183.221),(514,-2183.221),(514,-4744),(524,-4744),(524,-2183.221),(534,-2183.221),(534,-4744),(544,-4744),(544,-2183.221),(554,-2183.221),(554,-4744),(564,-4744),(564,-2183.221),(574,-2183.221),(574,-4744),(584,-4744),(584,-2183.221),(594,-2183.221),(594,-4744),(604,-4744),(604,-2183.221),(614,-2183.221),(614,-4744),(624,-4744),(624,-2183.221),(634,-2183.221),(634,-4744),(644,-4744),(644,-2183.221),(654,-2183.221),(654,-4744),(664,-4744),(664,-2183.221),(674,-2183.221),(674,-4744),(684,-4744),(684,-2183.221),(694,-2183.221),(694,-4744),(704,-4744),(704,-2183.221),(714,-2183.221),(714,-4744),(724,-4744),(724,-2183.221),(734,-2183.221),(734,-4744),(744,-4744),(744,-2183.221),(754,-2183.221),(754,-4744),(764,-4744),(764,-2183.221),(774,-2183.221),(774,-4744),(784,-4744),(784,-2183.221),(794,-2183.221),(794,-4744),(804,-4744),(804,-2183.221),(814,-2183.221),(814,-4744),(824,-4744),(824,-2183.221),(834,-2183.221),(834,-4744),(844,-4744),(844,-2183.221),(854,-2183.221),(854,-4744),(864,-4744),(864,-2183.221),(874,-2183.221),(874,-4744),(884,-4744),(884,-2183.221),(894,-2183.221),(894,-4744),(904,-4744),(904,-2183.221),(914,-2183.221),(914,-4744),(924,-4744),(924,-2183.221),(934,-2183.221),(934,-4744),(944,-4744),(944,-2183.221),(954,-2183.221),(954,-4744),(964,-4744),(964,-2183.221),(974,-2183.221),(974,-4744),(984,-4744),(984,-2183.221),(994,-2183.221),(994,-4744),(1004,-4744),(1004,-2183.221),(1014,-2183.221),(1014,-4744),(1024,-4744),(1024,-2183.221),(1034,-2183.221),(1034,-4744),(1044,-4744),(1044,-2183.221),(1054,-2183.221),(1054,-4744),(1064,-4744),(1064,-2183.221),(1074,-2183.221),(1074,-4744),(1084,-4744),(1084,-2183.221),(1094,-2183.221),(1094,-4744),(1104,-4744),(1104,-2183.221),(1114,-2183.221),(1114,-4744),(1124,-4744),(1124,-2183.221),(1134,-2183.221),(1134,-4744),(1144,-4744),(1144,-2183.221),(1154,-2183.221),(1154,-4744),(1164,-4744),(1164,-2183.221),(1174,-2183.221),(1174,-4744),(1184,-4744),(1184,-2183.221),(1194,-2183.221),(1194,-4744),(1204,-4744),(1204,-2183.221),(1214,-2183.221),(1214,-4744),(1224,-4744),(1224,-2183.221),(1234,-2183.221),(1234,-4744),(1244,-4744),(1244,-2183.221),(1254,-2183.221),(1254,-4744),(1264,-4744),(1264,-2183.221),(1274,-2183.221),(1274,-4744),(1284,-4744),(1284,-2183.221),(1294,-2183.221),(1294,-4744),(1304,-4744),(1304,-2183.221),(1314,-2183.221),(1314,-4744),(1324,-4744),(1324,-2183.221),(1334,-2183.221),(1334,-4744),(1344,-4744),(1344,-2183.221),(1354,-2183.221),(1354,-4744),(1364,-4744),(1364,-2183.221),(1374,-2183.221),(1374,-4744),(1384,-4744),(1384,-2183.221),(1394,-2183.221),(1394,-4744),(1404,-4744),(1404,-2183.221),(1414,-2183.221),(1414,-4744),(1424,-4744),(1424,-2183.221),(1434,-2183.221),(1434,-4744),(1444,-4744),(1444,-2183.221),(1454,-2183.221),(1454,-4744),(1464,-4744),(1464,-2183.221),(1474,-2183.221),(1474,-4744),(1484,-4744),(1484,-2183.221),(1494,-2183.221),(1494,-4744),(1504,-4744),(1504,-2183.221),(1514,-2183.221),(1514,-4744),(1524,-4744),(1524,-2183.221),(1534,-2183.221),(1534,-4744),(1544,-4744),(1544,-2183.221),(1554,-2183.221),(1554,-4744),(1564,-4744),(1564,-2183.221),(1574,-2183.221),(1574,-4744),(1584,-4744),(1584,-2183.221),(1594,-2183.221),(1594,-4744),(1604,-4744),(1604,-2183.221),(1614,-2183.221),(1614,-4744),(1624,-4744),(1624,-2183.221),(1634,-2183.221),(1634,-4744),(1644,-4744),(1644,-2183.221),(1654,-2183.221),(1654,-4744),(1664,-4744),(1664,-2183.221),(1674,-2183.221),(1674,-4744),(1684,-4744),(1684,-2183.221),(1694,-2183.221),(1694,-4744),(1704,-4744),(1704,-2183.221),(1714,-2183.221),(1714,-4744),(1724,-4744),(1724,-2183.221),(1734,-2183.221),(1734,-4744),(1744,-4744),(1744,-2183.221),(1754,-2183.221),(1754,-4744),(1764,-4744),(1764,-2183.221),(1774,-2183.221),(1774,-4744),(1784,-4744),(1784,-2183.221),(1794,-2183.221),(1794,-4744),(1804,-4744),(1804,-2183.221),(1814,-2183.221),(1814,-4744),(1824,-4744),(1824,-2183.221),(1834,-2183.221),(1834,-4744),(1844,-4744),(1844,-2183.221),(1854,-2183.221),(1854,-4744),(1864,-4744),(1864,-2183.221),(1874,-2183.221),(1874,-4744),(1884,-4744),(1884,-2183.221),(1894,-2183.221),(1894,-4744),(1904,-4744),(1904,-2183.221),(1914,-2183.221),(1914,-4744),(1924,-4744),(1924,-2183.221),(1934,-2183.221),(1934,-4744),(1944,-4744),(1944,-2183.221),(1954,-2183.221),(1954,-4744),(1964,-4744),(1964,-2183.221),(1974,-2183.221),(1974,-4744),(1984,-4744),(1984,-2183.221),(1994,-2183.221),(1994,-4744),(2004,-4744),(2004,-2183.221),(2014,-2183.221),(2014,-4744),(2024,-4744),(2024,-2183.221),(2034,-2183.221),(2034,-4744),(2044,-4744),(2044,-2183.221),(2054,-2183.221),(2054,-4744),(2064,-4744),(2064,-2183.221),(2074,-2183.221),(2074,-4744),(2084,-4744),(2084,-2183.221),(2094,-2183.221),(2094,-4744),(2104,-4744),(2104,-2183.221),(2114,-2183.221),(2114,-4744),(2124,-4744),(2124,-2183.221),(2134,-2183.221),(2134,-4744),(2144,-4744),(2144,-2183.221),(2154,-2183.221),(2154,-4744),(2164,-4744),(2164,-2183.221),(2174,-2183.221),(2174,-4744),(2184,-4744),(2184,-2183.221),(2194,-2183.221),(2194,-4744),(2204,-4744),(2204,-2183.221),(2214,-2183.221),(2214,-4744),(2224,-4744),(2224,-2183.221),(2234,-2183.221),(2234,-4744),(2244,-4744),(2244,-2183.221),(2254,-2183.221),(2254,-4744),(2264,-4744),(2264,-2183.221),(2274,-2183.221),(2274,-4744),(2284,-4744),(2284,-2173.221),(6,-2173.221),(6,-1964),(13.5,-1894),(15.5,-1894),(18,-2069),(2384,-2069),(2384,-4944),(-1400,-4944),(-1400,-9000)])
R(top, L7_0, [(-2450,-9000,-1300,-8000), (-2450,8000,-1300,9000)])
P(top, L8_0, [(-3969.678,2111.421),(-3969.678,5300.045),(-6500,5300.045),(-6500,9000),(-3143.339,9000),(-3143.339,2121.021),(95.478,2121.021),(95.478,2111.421)],
  [(-6500,-9000),(-6500,-5300.045),(-3969.678,-5300.045),(-3969.678,-2111.421),(95.478,-2111.421),(95.478,-2121.021),(-3143.339,-2121.021),(-3143.339,-9000)])
P(top, L9_0, [(-3969.678,2110.921),(-3969.678,5300.045),(-6500,5300.045),(-6500,9000),(-3143.339,9000),(-3143.339,2121.521),(95.478,2121.521),(95.478,2110.921)],
  [(-6500,-9000),(-6500,-5300.045),(-3969.678,-5300.045),(-3969.678,-2110.921),(95.478,-2110.921),(95.478,-2121.521),(-3143.339,-2121.521),(-3143.339,-9000)])

lib.write_gds('TOP.gds')
